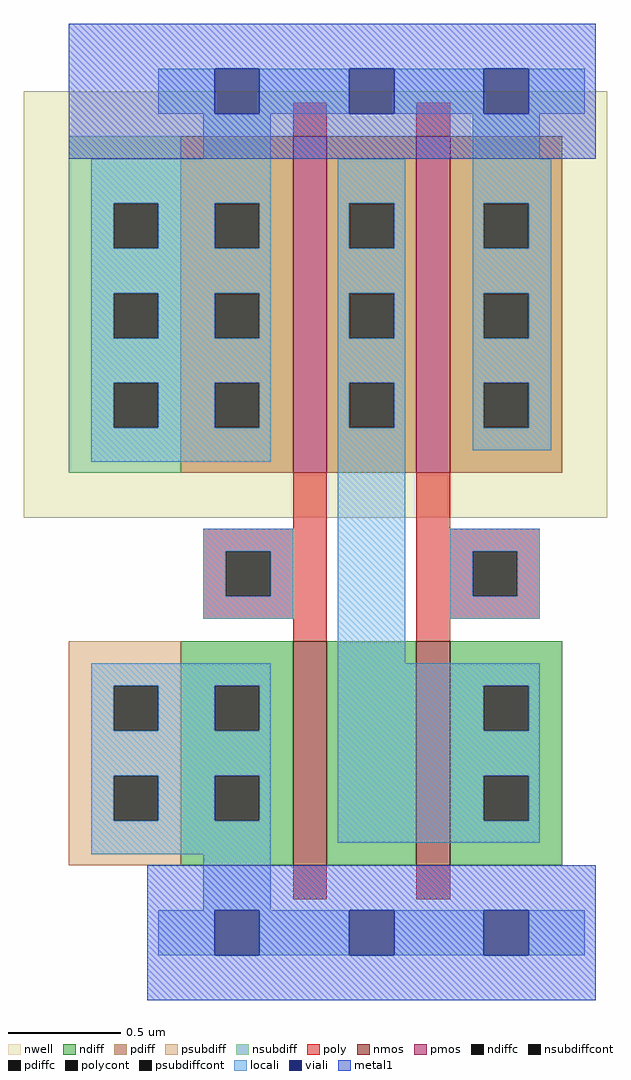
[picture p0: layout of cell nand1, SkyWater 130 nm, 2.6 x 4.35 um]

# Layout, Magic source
magic
tech sky130A
<< nwell >>
rect -90 205 170 395
<< nmos >>
rect 30 50 45 150
rect 85 50 100 150
<< pmos >>
rect 30 225 45 375
rect 85 225 100 375
<< ndiff >>
rect -20 130 30 150
rect -20 110 -5 130
rect 15 110 30 130
rect -20 90 30 110
rect -20 70 -5 90
rect 15 70 30 90
rect -20 50 30 70
rect 45 50 85 150
rect 100 130 150 150
rect 100 110 115 130
rect 135 110 150 130
rect 100 90 150 110
rect 100 70 115 90
rect 135 70 150 90
rect 100 50 150 70
<< pdiff >>
rect -20 345 30 375
rect -20 325 -5 345
rect 15 325 30 345
rect -20 305 30 325
rect -20 285 -5 305
rect 15 285 30 305
rect -20 265 30 285
rect -20 245 -5 265
rect 15 245 30 265
rect -20 225 30 245
rect 45 345 85 375
rect 45 325 55 345
rect 75 325 85 345
rect 45 305 85 325
rect 45 285 55 305
rect 75 285 85 305
rect 45 265 85 285
rect 45 245 55 265
rect 75 245 85 265
rect 45 225 85 245
rect 100 345 150 375
rect 100 325 115 345
rect 135 325 150 345
rect 100 305 150 325
rect 100 285 115 305
rect 135 285 150 305
rect 100 265 150 285
rect 100 245 115 265
rect 135 245 150 265
rect 100 225 150 245
<< ndiffc >>
rect -5 110 15 130
rect -5 70 15 90
rect 115 110 135 130
rect 115 70 135 90
<< pdiffc >>
rect -5 325 15 345
rect -5 285 15 305
rect -5 245 15 265
rect 55 325 75 345
rect 55 285 75 305
rect 55 245 75 265
rect 115 325 135 345
rect 115 285 135 305
rect 115 245 135 265
<< psubdiff >>
rect -70 130 -20 150
rect -70 110 -50 130
rect -30 110 -20 130
rect -70 90 -20 110
rect -70 70 -50 90
rect -30 70 -20 90
rect -70 50 -20 70
<< nsubdiff >>
rect -70 345 -20 375
rect -70 325 -50 345
rect -30 325 -20 345
rect -70 305 -20 325
rect -70 285 -50 305
rect -30 285 -20 305
rect -70 265 -20 285
rect -70 245 -50 265
rect -30 245 -20 265
rect -70 225 -20 245
<< psubdiffcont >>
rect -50 110 -30 130
rect -50 70 -30 90
<< nsubdiffcont >>
rect -50 325 -30 345
rect -50 285 -30 305
rect -50 245 -30 265
<< poly >>
rect 30 375 45 390
rect 85 375 100 390
rect 30 200 45 225
rect -10 190 45 200
rect -10 170 0 190
rect 20 170 45 190
rect -10 160 45 170
rect 30 150 45 160
rect 85 200 100 225
rect 85 190 140 200
rect 85 170 110 190
rect 130 170 140 190
rect 85 160 140 170
rect 85 150 100 160
rect 30 35 45 50
rect 85 35 100 50
<< polycont >>
rect 0 170 20 190
rect 110 170 130 190
<< locali >>
rect -30 385 -5 405
rect 15 385 55 405
rect 75 385 115 405
rect 135 385 160 405
rect -10 365 20 385
rect 110 365 140 385
rect -60 345 20 365
rect -60 325 -50 345
rect -30 325 -5 345
rect 15 325 20 345
rect -60 305 20 325
rect -60 285 -50 305
rect -30 285 -5 305
rect 15 285 20 305
rect -60 265 20 285
rect -60 245 -50 265
rect -30 245 -5 265
rect 15 245 20 265
rect -60 230 20 245
rect 50 345 80 365
rect 50 325 55 345
rect 75 325 80 345
rect 50 305 80 325
rect 50 285 55 305
rect 75 285 80 305
rect 50 265 80 285
rect 50 245 55 265
rect 75 245 80 265
rect -10 190 30 200
rect -10 170 0 190
rect 20 170 30 190
rect -10 160 30 170
rect 50 140 80 245
rect 110 345 145 365
rect 110 325 115 345
rect 135 325 145 345
rect 110 305 145 325
rect 110 285 115 305
rect 135 285 145 305
rect 110 265 145 285
rect 110 245 115 265
rect 135 245 145 265
rect 110 235 145 245
rect 100 190 140 200
rect 100 170 110 190
rect 130 170 140 190
rect 100 160 140 170
rect -60 130 20 140
rect -60 110 -50 130
rect -30 110 -5 130
rect 15 110 20 130
rect -60 90 20 110
rect -60 70 -50 90
rect -30 70 -5 90
rect 15 70 20 90
rect -60 55 20 70
rect 50 130 140 140
rect 50 110 115 130
rect 135 110 140 130
rect 50 90 140 110
rect 50 70 115 90
rect 135 70 140 90
rect 50 60 140 70
rect -10 30 20 55
rect -30 10 -5 30
rect 15 10 55 30
rect 75 10 115 30
rect 135 10 160 30
<< viali >>
rect -5 385 15 405
rect 55 385 75 405
rect 115 385 135 405
rect -5 10 15 30
rect 55 10 75 30
rect 115 10 135 30
<< metal1 >>
rect -70 405 165 425
rect -70 385 -5 405
rect 15 385 55 405
rect 75 385 115 405
rect 135 385 165 405
rect -70 365 165 385
rect -35 30 165 50
rect -35 10 -5 30
rect 15 10 55 30
rect 75 10 115 30
rect 135 10 165 30
rect -35 -10 165 10
<< end >>
